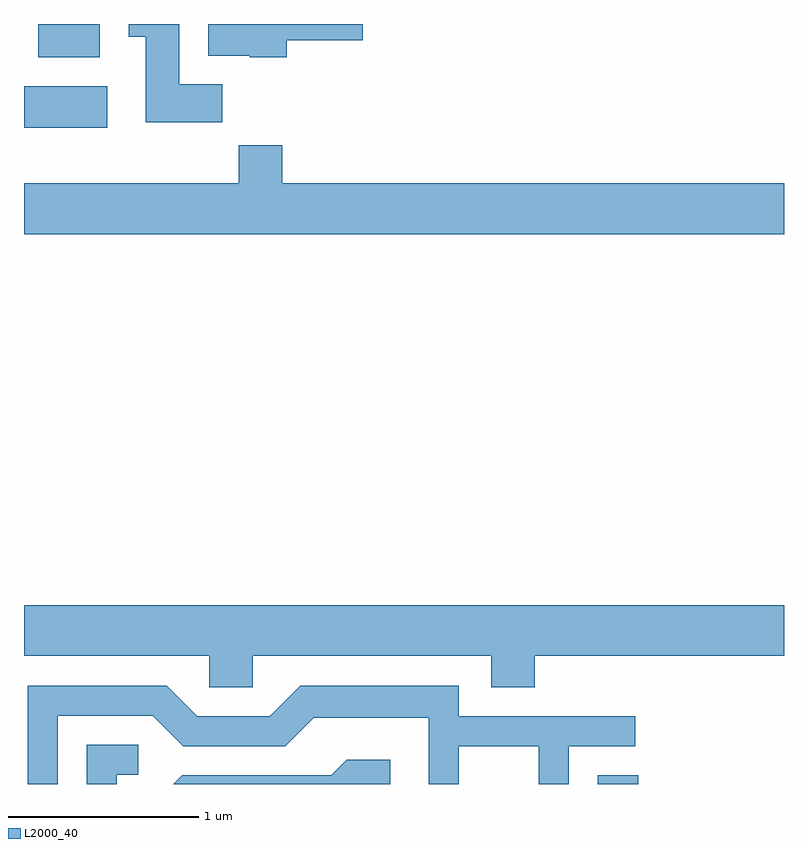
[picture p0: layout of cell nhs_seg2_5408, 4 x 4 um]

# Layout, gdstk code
import gdstk
lib = gdstk.Library(unit=1e-6, precision=1e-09)
def R(c, l, rs):  # rectangles x0, y0, x1, y1
    for r in rs: c.add(gdstk.rectangle(r[:2], r[2:], *l))
def P(c, l, *ps):  # polygons
    for p in ps: c.add(gdstk.Polygon(p, *l))
L2000_40 = (2000, 40)

nhs_seg2_5408 = lib.new_cell('nhs_seg2_5408')
R(nhs_seg2_5408, L2000_40, [(346.631,1109.802,346.844,1109.849), (343.611,1113.256,344.049,1113.474), (343.686,1113.626,344.009,1113.802)])
P(nhs_seg2_5408, L2000_40, [(344.654,1113.484),(344.429,1113.484),(344.429,1113.802),(344.161,1113.802),(344.161,1113.736),(344.251,1113.736),(344.251,1113.286),(344.654,1113.286)],
  [(344.994,1113.716),(345.394,1113.716),(345.394,1113.802),(344.581,1113.802),(344.581,1113.636),(344.8,1113.636),(344.8,1113.626),(344.994,1113.626)],
  [(347.611,1112.964),(344.969,1112.964),(344.969,1113.164),(344.741,1113.164),(344.741,1112.964),(343.611,1112.964),(343.611,1112.696),(347.611,1112.696)],
  [(344.814,1110.476),(346.071,1110.476),(346.071,1110.311),(346.299,1110.311),(346.299,1110.476),(347.611,1110.476),(347.611,1110.744),(343.611,1110.744),(343.611,1110.476),(344.586,1110.476),(344.586,1110.311),(344.814,1110.311)],
  [(343.789,1110.161),(344.289,1110.161),(344.449,1110.001),(344.987,1110.001),(345.137,1110.151),(345.741,1110.151),(345.741,1109.802),(345.899,1109.802),(345.899,1110.001),(346.321,1110.001),(346.321,1109.802),(346.479,1109.802),(346.479,1110.001),(346.828,1110.001),(346.828,1110.159),(345.899,1110.159),(345.899,1110.319),(345.064,1110.319),(344.904,1110.159),(344.522,1110.159),(344.362,1110.319),(343.631,1110.319),(343.631,1109.802),(343.789,1109.802)],
  [(344.099,1109.851),(344.213,1109.851),(344.213,1110.009),(343.941,1110.009),(343.941,1109.802),(344.099,1109.802)],
  [(345.538,1109.929),(345.309,1109.929),(345.229,1109.849),(344.444,1109.849),(344.397,1109.802),(345.538,1109.802)])

lib.write_gds('nhs_seg2_5408.gds')
